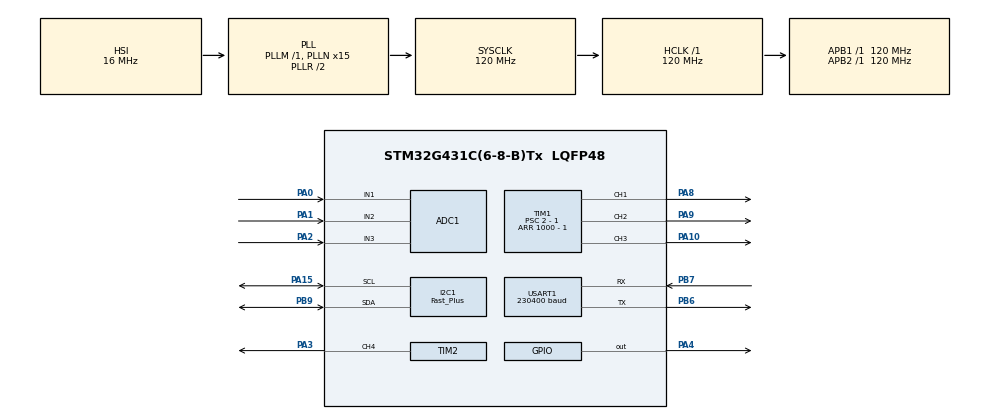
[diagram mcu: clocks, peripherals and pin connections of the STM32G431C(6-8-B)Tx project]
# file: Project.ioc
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ADC1.Channel-0\#ChannelRegularConversion=ADC_CHANNEL_1
ADC1.Channel-1\#ChannelRegularConversion=ADC_CHANNEL_2
ADC1.Channel-2\#ChannelRegularConversion=ADC_CHANNEL_3
ADC1.ClockPrescaler=ADC_CLOCK_SYNC_PCLK_DIV2
ADC1.DMAContinuousRequests=ENABLE
ADC1.EOCSelection=ADC_EOC_SINGLE_CONV
ADC1.ExternalTrigConv=ADC_EXTERNALTRIG_T1_TRGO
ADC1.NbrOfConversion=3
ADC1.NbrOfConversionFlag=1
ADC1.OffsetNumber-0\#ChannelRegularConversion=ADC_OFFSET_NONE
ADC1.OffsetNumber-1\#ChannelRegularConversion=ADC_OFFSET_NONE
ADC1.OffsetNumber-2\#ChannelRegularConversion=ADC_OFFSET_NONE
ADC1.Rank-0\#ChannelRegularConversion=1
ADC1.Rank-1\#ChannelRegularConversion=2
ADC1.Rank-2\#ChannelRegularConversion=3
ADC1.SamplingTime-0\#ChannelRegularConversion=ADC_SAMPLETIME_2CYCLES_5
ADC1.SamplingTime-1\#ChannelRegularConversion=ADC_SAMPLETIME_2CYCLES_5
ADC1.SamplingTime-2\#ChannelRegularConversion=ADC_SAMPLETIME_2CYCLES_5
ADC1.master=1
Dma.ADC1.1.Direction=DMA_PERIPH_TO_MEMORY
Dma.ADC1.1.EventEnable=DISABLE
Dma.ADC1.1.Instance=DMA1_Channel2
Dma.ADC1.1.MemDataAlignment=DMA_MDATAALIGN_WORD
Dma.ADC1.1.MemInc=DMA_MINC_ENABLE
Dma.ADC1.1.Mode=DMA_CIRCULAR
Dma.ADC1.1.PeriphDataAlignment=DMA_PDATAALIGN_WORD
Dma.ADC1.1.PeriphInc=DMA_PINC_DISABLE
Dma.ADC1.1.Polarity=HAL_DMAMUX_REQ_GEN_RISING
Dma.ADC1.1.Priority=DMA_PRIORITY_HIGH
Dma.ADC1.1.RequestNumber=1
Dma.ADC1.1.SignalID=NONE
Dma.ADC1.1.SyncEnable=DISABLE
Dma.ADC1.1.SyncPolarity=HAL_DMAMUX_SYNC_NO_EVENT
Dma.ADC1.1.SyncRequestNumber=1
Dma.ADC1.1.SyncSignalID=NONE
Dma.Request0=USART1_RX
Dma.Request1=ADC1
Dma.Request2=USART1_TX
Dma.USART1_RX.0.Direction=DMA_PERIPH_TO_MEMORY
Dma.USART1_RX.0.EventEnable=DISABLE
Dma.USART1_RX.0.Instance=DMA1_Channel1
Dma.USART1_RX.0.MemDataAlignment=DMA_MDATAALIGN_BYTE
Dma.USART1_RX.0.MemInc=DMA_MINC_ENABLE
Dma.USART1_RX.0.Mode=DMA_CIRCULAR
Dma.USART1_RX.0.PeriphDataAlignment=DMA_PDATAALIGN_BYTE
Dma.USART1_RX.0.PeriphInc=DMA_PINC_DISABLE
Dma.USART1_RX.0.Polarity=HAL_DMAMUX_REQ_GEN_RISING
Dma.USART1_RX.0.Priority=DMA_PRIORITY_MEDIUM
Dma.USART1_RX.0.RequestNumber=1
Dma.USART1_RX.0.SignalID=NONE
Dma.USART1_RX.0.SyncEnable=DISABLE
Dma.USART1_RX.0.SyncPolarity=HAL_DMAMUX_SYNC_NO_EVENT
Dma.USART1_RX.0.SyncRequestNumber=1
Dma.USART1_RX.0.SyncSignalID=NONE
Dma.USART1_TX.2.Direction=DMA_MEMORY_TO_PERIPH
Dma.USART1_TX.2.EventEnable=DISABLE
Dma.USART1_TX.2.Instance=DMA1_Channel3
Dma.USART1_TX.2.MemDataAlignment=DMA_MDATAALIGN_BYTE
Dma.USART1_TX.2.MemInc=DMA_MINC_ENABLE
Dma.USART1_TX.2.Mode=DMA_CIRCULAR
Dma.USART1_TX.2.PeriphDataAlignment=DMA_PDATAALIGN_BYTE
Dma.USART1_TX.2.PeriphInc=DMA_PINC_DISABLE
Dma.USART1_TX.2.Polarity=HAL_DMAMUX_REQ_GEN_RISING
Dma.USART1_TX.2.Priority=DMA_PRIORITY_MEDIUM
Dma.USART1_TX.2.RequestNumber=1
Dma.USART1_TX.2.SignalID=NONE
Dma.USART1_TX.2.SyncEnable=DISABLE
Dma.USART1_TX.2.SyncPolarity=HAL_DMAMUX_SYNC_NO_EVENT
Dma.USART1_TX.2.SyncRequestNumber=1
Dma.USART1_TX.2.SyncSignalID=NONE
I2C1.I2C_Speed_Mode=I2C_Fast_Plus
I2C1.Timing=0x10820B1B
Mcu.Family=STM32G4
Mcu.Name=STM32G431C(6-8-B)Tx
Mcu.Package=LQFP48
NVIC.DMA1_Channel1_IRQn=true\:1\:1\:true\:false\:true\:false\:true\:true
NVIC.DMA1_Channel2_IRQn=true\:1\:1\:true\:false\:true\:false\:true\:true
NVIC.DMA1_Channel3_IRQn=true\:0\:0\:false\:false\:true\:false\:true\:true
NVIC.PriorityGroup=NVIC_PRIORITYGROUP_2
NVIC.TIM3_IRQn=true\:0\:0\:false\:false\:true\:true\:true\:true
NVIC.USART1_IRQn=true\:2\:2\:true\:false\:true\:true\:true\:true
PA0.Mode=IN1-Single-Ended
PA0.Signal=ADC1_IN1
PA1.Mode=IN2-Single-Ended
PA1.Signal=ADC1_IN2
PA10.Signal=S_TIM1_CH3
PA13.Mode=Serial_Wire
PA13.Signal=SYS_JTMS-SWDIO
PA14.Mode=Serial_Wire
PA14.Signal=SYS_JTCK-SWCLK
PA15.Mode=I2C
PA15.Signal=I2C1_SCL
PA2.Mode=IN3-Single-Ended
PA2.Signal=ADC1_IN3
PA3.Signal=S_TIM2_CH4
PA4.Signal=GPIO_Output
PA8.Signal=S_TIM1_CH1
PA9.Signal=S_TIM1_CH2
PB6.Mode=Asynchronous
PB6.Signal=USART1_TX
PB7.Mode=Asynchronous
PB7.Signal=USART1_RX
PB9.Mode=I2C
PB9.Signal=I2C1_SDA
ProjectManager.HeapSize=0x200
ProjectManager.StackSize=0x400
ProjectManager.TargetToolchain=MDK-ARM V5.32
RCC.ADC12Freq_Value=120000000
RCC.AHBFreq_Value=120000000
RCC.APB1Freq_Value=120000000
RCC.APB1TimFreq_Value=120000000
RCC.APB2Freq_Value=120000000
RCC.APB2TimFreq_Value=120000000
RCC.CortexFreq_Value=120000000
RCC.EXTERNAL_CLOCK_VALUE=12288000
RCC.HCLKFreq_Value=120000000
RCC.HSE_VALUE=8000000
RCC.HSI48_VALUE=48000000
RCC.HSI_VALUE=16000000
RCC.LSE_VALUE=32768
RCC.PLLN=15
RCC.SYSCLKFreq_VALUE=120000000
RCC.SYSCLKSource=RCC_SYSCLKSOURCE_PLLCLK
RCC.USBFreq_Value=120000000
RCC.VCOOutputFreq_Value=240000000
SH.S_TIM1_CH1.0=TIM1_CH1,PWM Generation1 CH1
SH.S_TIM1_CH2.0=TIM1_CH2,PWM Generation2 CH2
SH.S_TIM1_CH3.0=TIM1_CH3,PWM Generation3 CH3
SH.S_TIM2_CH4.0=TIM2_CH4,PWM Generation4 CH4
TIM1.Channel-PWM\ Generation1\ CH1=TIM_CHANNEL_1
TIM1.Channel-PWM\ Generation2\ CH2=TIM_CHANNEL_2
TIM1.Channel-PWM\ Generation3\ CH3=TIM_CHANNEL_3
TIM1.CounterMode=TIM_COUNTERMODE_CENTERALIGNED1
TIM1.PeriodNoDither=1000 - 1
TIM1.Prescaler=2 - 1
TIM1.TIM_MasterOutputTrigger=TIM_TRGO_UPDATE
TIM1.TIM_MasterSlaveMode=TIM_MASTERSLAVEMODE_DISABLE
TIM2.Channel-PWM\ Generation4\ CH4=TIM_CHANNEL_4
TIM2.PeriodNoDither=1000 - 1
TIM2.Prescaler=120 - 1
TIM3.PeriodNoDither=200 - 1
TIM3.Prescaler=120 - 1
USART1.BaudRate=230400
USART1.VirtualMode-Asynchronous=VM_ASYNC
VP_CORDIC_VS_CORDIC.Mode=CORDIC_Activate
VP_SYS_VS_DBSignals.Mode=DisableDeadBatterySignals
VP_TIM1_VS_ClockSourceINT.Mode=Internal
VP_TIM2_VS_ClockSourceINT.Mode=Internal
VP_TIM3_VS_ClockSourceINT.Mode=Internal
board=custom

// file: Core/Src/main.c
/* USER CODE BEGIN Header */
/**
  ******************************************************************************
  * @file           : main.c
  * @brief          : Main program body
  速度测量和滤波
  ******************************************************************************
  * @attention
  *
  * Copyright (c) 2026 STMicroelectronics.
  * All rights reserved.
  *
  * This software is licensed under terms that can be found in the LICENSE file
  * in the root directory of this software component.
  * If no LICENSE file comes with this software, it is provided AS-IS.
  *
  ******************************************************************************
  */
/* USER CODE END Header */
#include "main.h"
#include "adc.h"
#include "cordic.h"
#include "dma.h"
#include "i2c.h"
#include "tim.h"
#include "usart.h"
#include "gpio.h"

/* USER CODE BEGIN Includes */
#include <math.h>
#include "Driver.h"
#include "Encoder.h"
#include "Serial.h"
#include "PID.h"
#include "Beep.h"
#include "CurrentMeasure.h"
#include "Filter.h"
#include "QuickCalc.h"

/* USER CODE END Includes */

void SystemClock_Config(void);

/* USER CODE BEGIN 0 */

MAF filter_speed;  // 速度滤波器
uint8_t N = 1;  // 滑动平均滤波器点数

PID pid_I_d, pid_I_q;  // 电流环
PID pid_speed;  // 速度环
PID pid_angle;  // 位置环

// 位置环
float angle_desire = 0.0f;
float angle_actual = 0.0f;

// 速度环
float speed_desire = 0.0f;  // 期望速度
float speed = 0.0f;  // 测速变量
float speed_actual;  // 滤波后速度

// 电流环
float I_d_desire = 0.0f, I_q_desire = 0.0f;  // 期望电流值
float *rightangledCurrent, I_d_actual, I_q_actual;  // 测得的电流

uint8_t led_state = 0;  // 测试程序执行速度使用的LED，同时亮起指示初始化完成
uint8_t flg_mode = 0;  // 模式标志位：0位置闭环，1速度闭环，2力矩闭环

void Test_MultiMode(void) {
// ========== 上位机的指令变量及其接收
		static float data;
		static char type;
		VOFA_GetData(&data, &type);
// ========== 上位机发送角度（位置）指令
		if (type == 'a') {
			angle_desire = data;
			flg_mode = 0;
		}
// ========== 上位机发送speed指令
		if (type == 's') {
			speed_desire = data;
			flg_mode = 1;
		}
// ========== 上位机发送dq电流指令
		if (type == 'd') {
			I_d_desire = data;
			flg_mode = 2;
		}
		else if (type == 'q') {
			I_q_desire = data;
			flg_mode = 2;
		}
// ========== 发送位置和速度波形
		VOFA_SendData(angle_desire, angle_actual, speed_desire, speed_actual);
}

void Test_Sine(void) {  // 正弦振荡方式旋转
	angle_desire = sinf((float)HAL_GetTick() * 0.005f);
}

/* USER CODE END 0 */

int main(void)
{

  /* MCU Configuration--------------------------------------------------------*/

  /* Reset of all peripherals, Initializes the Flash interface and the Systick. */
  HAL_Init();

  /* Configure the system clock */
  SystemClock_Config();

  /* Initialize all configured peripherals */
  MX_GPIO_Init();
  MX_DMA_Init();
  MX_TIM1_Init();
  MX_I2C1_Init();
  MX_USART1_UART_Init();
  MX_TIM2_Init();
  MX_ADC1_Init();
  MX_TIM3_Init();
  MX_CORDIC_Init();
  /* USER CODE BEGIN 2 */
  Filter_MAF_Init(&filter_speed, N);

  Serial_Init();   // 初始化串口
  Driver_Init();
  Encoder_Init();  // 对轴操作
  CurrentMeasure_Init();
//  QuickCalc_Init();  // CORDIC模块初始化，加速三角函数计算

  PID_Init(&pid_I_d, 6.0f, 0.0f, 0.0f, 6.0f, 6.0f);
  PID_Init(&pid_I_q, 6.0f, 0.0f, 0.0f, 6.0f, 6.0f);
  PID_Init(&pid_speed, 0.01f, 0.001f, 0.0f, 0.5f, 0.5f);
  PID_Init(&pid_angle, 60.0f, 0.0f, 10.0f, 100.0f, 100.0f);  // 1rad的偏差，使用60rad/s速度纠偏
  HAL_TIM_Base_Start_IT(&htim3);
  /* USER CODE END 2 */

  /* Infinite loop */
  /* USER CODE BEGIN WHILE */
  while (1)
  {
//// ========== 正弦方式振荡旋转
//	  Test_Sine();

// ========== 模式切换：力矩-速度-位置闭环、力矩-速度闭环、力矩闭环
	  // 在VOFA上发送什么指令就进入什么闭环模式
	  Test_MultiMode();

    /* USER CODE END WHILE */

  }
}

void SystemClock_Config(void)
{
  RCC_OscInitTypeDef RCC_OscInitStruct = {0};
  RCC_ClkInitTypeDef RCC_ClkInitStruct = {0};

  /** Configure the main internal regulator output voltage
  */
  HAL_PWREx_ControlVoltageScaling(PWR_REGULATOR_VOLTAGE_SCALE1);

  /** Initializes the RCC Oscillators according to the specified parameters
  * in the RCC_OscInitTypeDef structure.
  */
  RCC_OscInitStruct.OscillatorType = RCC_OSCILLATORTYPE_HSI;
  RCC_OscInitStruct.HSIState = RCC_HSI_ON;
  RCC_OscInitStruct.HSICalibrationValue = RCC_HSICALIBRATION_DEFAULT;
  RCC_OscInitStruct.PLL.PLLState = RCC_PLL_ON;
  RCC_OscInitStruct.PLL.PLLSource = RCC_PLLSOURCE_HSI;
  RCC_OscInitStruct.PLL.PLLM = RCC_PLLM_DIV1;
  RCC_OscInitStruct.PLL.PLLN = 15;
  RCC_OscInitStruct.PLL.PLLP = RCC_PLLP_DIV2;
  RCC_OscInitStruct.PLL.PLLQ = RCC_PLLQ_DIV2;
  RCC_OscInitStruct.PLL.PLLR = RCC_PLLR_DIV2;
  if (HAL_RCC_OscConfig(&RCC_OscInitStruct) != HAL_OK)
  {
    Error_Handler();
  }

  /** Initializes the CPU, AHB and APB buses clocks
  */
  RCC_ClkInitStruct.ClockType = RCC_CLOCKTYPE_HCLK|RCC_CLOCKTYPE_SYSCLK
                              |RCC_CLOCKTYPE_PCLK1|RCC_CLOCKTYPE_PCLK2;
  RCC_ClkInitStruct.SYSCLKSource = RCC_SYSCLKSOURCE_PLLCLK;
  RCC_ClkInitStruct.AHBCLKDivider = RCC_SYSCLK_DIV1;
  RCC_ClkInitStruct.APB1CLKDivider = RCC_HCLK_DIV1;
  RCC_ClkInitStruct.APB2CLKDivider = RCC_HCLK_DIV1;

  if (HAL_RCC_ClockConfig(&RCC_ClkInitStruct, FLASH_LATENCY_3) != HAL_OK)
  {
    Error_Handler();
  }
}

/* USER CODE BEGIN 4 */
void HAL_TIM_PeriodElapsedCallback(TIM_HandleTypeDef *htim) {
	static uint8_t cnt_velocityLoop = 0;
	static uint8_t cnt_positionLoop = 0;
	if (htim == &htim3) {  // TIM3定时中断，5kHz

		if (flg_mode == 0 && cnt_positionLoop == 25) {  // 位置环200Hz（位置闭环模式执行）
			cnt_positionLoop = 0;
			angle_actual = Encoder_GetAngle();  // 获得当期位置
// ========== 位置环输出给速度环
			PID_pos_Calc(&pid_angle, angle_desire, angle_actual);  // 这里适合使用位置式PID，因为速度和位置具有积分关系
			speed_desire = pid_angle.output;  // 更新到speed_desire
		}

		if ((flg_mode == 0 || flg_mode == 1) && cnt_velocityLoop == 5) {  // 速度环1kHz（位置闭环、速度闭环模式执行）
			cnt_velocityLoop = 0;
			speed = Encoder_GetVelocity(1000);
// ========== 测速和滤波
			speed_actual = Filter_MAF_Update(&filter_speed, speed);
// ========== 速度环输出给电流环
			PID_pos_Calc(&pid_speed, speed_desire, speed_actual);  // 这里适合使用位置式PID，因为力矩和速度具有积分关系
			I_q_desire = pid_speed.output;  // 更新到Iq
		}

		{  // 电流环5kHz（无条件执行）
// ========== AD采样
			rightangledCurrent = CurrentMeasure_GetRightangledCurrent();
			I_d_actual = rightangledCurrent[0];
			I_q_actual = rightangledCurrent[1];

// ========== 电流环PID
			PID_inc_Calc(&pid_I_d, I_d_desire, I_d_actual);  // 这里适合使用增量式PID，因为电压和电流不具有积分关系
			PID_inc_Calc(&pid_I_q, I_q_desire, I_q_actual);
			Driver_SetRightangledVoltage(pid_I_d.output, pid_I_q.output, Encoder_GetAngleNoTrack() * 7);
		}
			// 调试开始
			HAL_GPIO_WritePin(GPIOA, GPIO_PIN_4, led_state);
			led_state = !led_state;
			// 调试结束

		cnt_positionLoop++;
		cnt_velocityLoop++;
	}
}

/* USER CODE END 4 */

void Error_Handler(void)
{
  __disable_irq();
  while (1)
  {
  }
}
